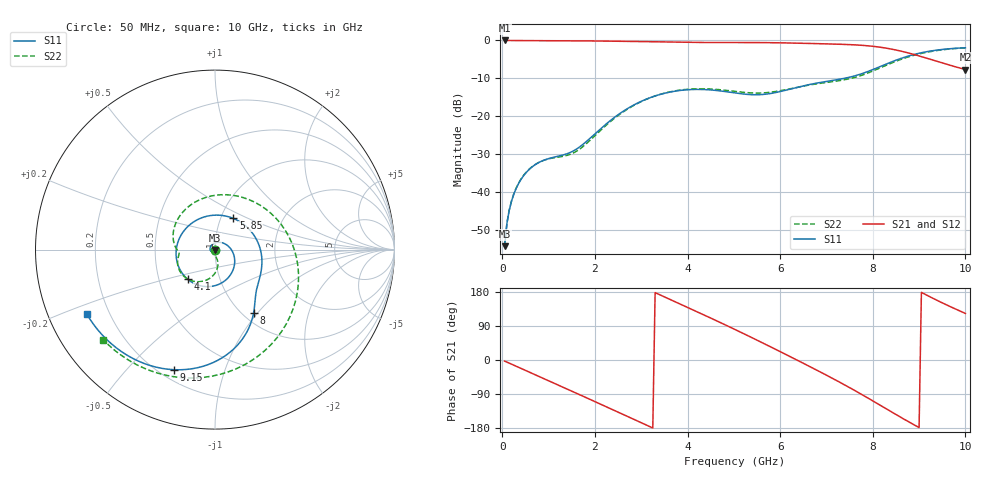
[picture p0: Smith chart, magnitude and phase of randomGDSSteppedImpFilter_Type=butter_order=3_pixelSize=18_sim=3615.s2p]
! freq	dB(S11)	phase(S11)	dB(S12)	phase(S12)
!  dB(S21)	phase(S21)	dB(S22)	phase(S22)
!S-par simulation data
#  GHz  S  DB  R 50
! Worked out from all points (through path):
!   200 points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, 50 MHz to 10 GHz, reference 50 ohm
!   highest |S21| = -0.01 dB at 50 MHz (marker M1); lowest = -7.7 dB at 10 GHz (marker M2)
!   group delay of S21, straight-line fit = 166 ps
!   lowest |S11| = -54.4 dB at 50 MHz (marker M3), VSWR 1.00, Z = 50 - j0.19 ohm
!   |S11| at or under -10 dB: start of sweep to 7.395 GHz
!   |S22| runs from -54.3 to -1.9 dB; largest |S21 - S12| = 0
!   S11 on the Smith chart (normalised r, x): 50 MHz: 1.00, -0.00; 4.1 GHz: 0.70, -0.24; 5.85 GHz: 1.15, +0.42; 8 GHz: 1.13, -0.95; 9.15 GHz: 0.26, -0.68; 10 GHz: 0.12, -0.23
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0.05  -54.40 -91.6  -0.01 -2.8  -0.01 -2.8  -54.30 -89.1
0.1  -48.41 -97.0  -0.01 -5.6  -0.01 -5.6  -48.31 -91.8
0.2  -42.48 -105.9  -0.03 -11.1  -0.03 -11.1  -42.38 -95.4
0.45  -35.93 -127.5  -0.04 -24.7  -0.04 -24.7  -35.84 -102.7
1.15  -30.78 159.8  -0.08 -63.0  -0.08 -63.0  -30.96 -109.1
1.75  -27.41 71.5  -0.12 -96.0  -0.12 -96.0  -27.99 -84.3
2.2  -22.54 16.5  -0.17 -120.9  -0.17 -120.9  -22.89 -77.4
2.65  -18.42 -24.7  -0.24 -145.9  -0.24 -145.9  -18.58 -86.2
3.4  -14.31 -81.8  -0.40 172.3  -0.40 172.3  -14.29 -113.0
4.1  -12.97 -132.7  -0.53 133.2  -0.53 133.2  -12.83 -139.7
4.6  -13.20 -172.2  -0.56 105.0  -0.56 105.0  -12.92 -156.3
5.05  -13.92 146.4  -0.55 79.1  -0.55 79.1  -13.51 -167.2
5.85  -13.91 59.6  -0.60 31.3  -0.60 31.3  -13.60 -178.5
6.3  -12.60 17.2  -0.70 3.8  -0.70 3.8  -12.56 168.6
6.7  -11.49 -11.4  -0.81 -21.1  -0.81 -21.1  -11.64 147.9
7.4  -9.99 -42.5  -1.05 -66.2  -1.05 -66.2  -10.37 89.0
8  -7.71 -58.4  -1.55 -107.8  -1.55 -107.8  -8.10 21.3
8.35  -5.94 -70.6  -2.17 -133.1  -2.17 -133.1  -6.25 -16.9
8.7  -4.38 -86.2  -3.10 -157.9  -3.10 -157.9  -4.62 -50.8
9.15  -3.01 -108.9  -4.64 172.1  -4.64 172.1  -3.16 -87.5
9.55  -2.32 -129.7  -6.13 147.9  -6.13 147.9  -2.40 -114.8
10  -1.94 -153.4  -7.70 122.9  -7.70 122.9  -1.94 -141.0
